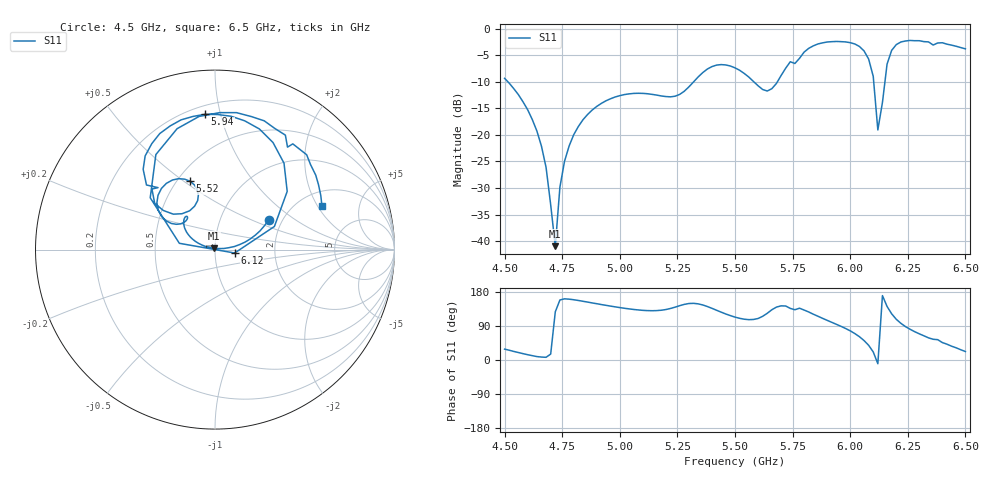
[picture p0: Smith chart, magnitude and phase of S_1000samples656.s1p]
! TOUCHSTONE file generated by CST MICROWAVE STUDIO
! Date and time: Fri Oct 28 22:31:01 2022
! Project name: L.cst
! Parameters = {Di=1.27; Epsilon_r=1.56; InnerDiameter=1.27; Length=2; Lf=10; Lg=60; OuterConductorThickness=0.2921; OuterDiameter=3.6; Wf=3; Wp=41.2; de=1.5; df=6.8; g=0.8; gx=2.15245; gy=1.29159; h=2.34; hf=1.524; px=14.2487; py=10.3985; w=9.7; wx=12.0962; wy=9.10696}
! Header version: 2018
! Port assignment regex: !\s*Touchstone port\s*([0-9]+)\s*=\s*(CST MWS port|CST DS port)\s*([0-9]+|Zmin|Zmax)\s*\(\"(.*)\"\)(\s*mode\s*([0-9]+))?.*
! Touchstone port assignment:
! Touchstone port 1 = CST MWS port 1 ("")
# GHz S DB R 50
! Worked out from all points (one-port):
!   101 points, 4.5 GHz to 6.5 GHz, reference 50 ohm
!   lowest |S11| = -41.0 dB at 4.72 GHz (marker M1), VSWR 1.02, Z = 49.5 + j0.706 ohm
!   |S11| at or under -10 dB: 4.514 GHz to 5.321 GHz (807.3 MHz wide, 16.4 % of centre); 5.581 GHz to 5.684 GHz (103.2 MHz wide, 1.83 % of centre); 6.102 GHz to 6.151 GHz (48.84 MHz wide, 0.797 % of centre)
!   S11 on the Smith chart (normalised r, x): 4.5 GHz: 1.70, +0.63; 5.52 GHz: 0.58, +0.53; 5.94 GHz: 0.25, +0.90; 6.12 GHz: 1.24, -0.05; 6.5 GHz: 2.61, +2.19
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4.5  -9.37 28.7
4.64  -19.27 9.0
4.68  -26.14 7.1
4.72  -40.96 127.2
4.74  -29.86 158.4
4.76  -24.99 161.5
4.84  -17.17 154.9
5  -12.63 138.3
5.26  -12.39 143.4
5.38  -7.62 141.1
5.5  -7.40 113.2
5.52  -7.85 110.0
5.64  -11.76 123.2
5.72  -7.46 142.5
5.76  -6.57 132.6
5.82  -3.73 126.7
5.94  -2.43 94.2
6  -2.66 77.0
6.04  -3.37 61.5
6.08  -5.74 38.9
6.1  -8.99 21.3
6.12  -19.08 -9.9
6.14  -13.90 170.0
6.16  -6.70 141.3
6.2  -3.02 107.4
6.26  -2.24 81.1
6.34  -2.51 58.4
6.5  -3.82 22.4
